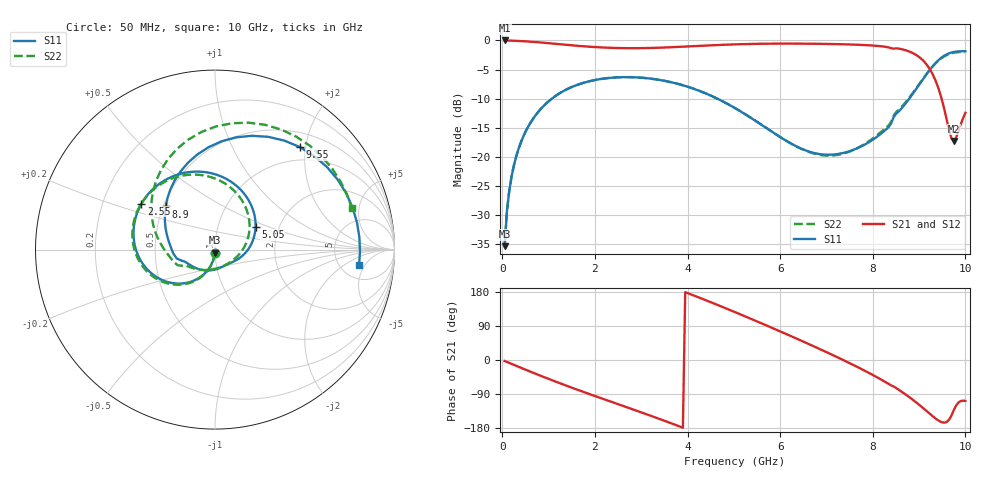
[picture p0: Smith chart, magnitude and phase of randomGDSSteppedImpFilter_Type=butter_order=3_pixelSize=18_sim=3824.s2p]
! freq	dB(S11)	phase(S11)	dB(S12)	phase(S12)
!  dB(S21)	phase(S21)	dB(S22)	phase(S22)
!S-par simulation data
#  GHz  S  DB  R 50
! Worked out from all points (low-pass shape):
!   200 points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, 50 MHz to 10 GHz, reference 50 ohm
!   highest |S21| = 0.00 dB at 50 MHz (marker M1); lowest = -17.3 dB at 9.75 GHz (marker M2)
!   |S21| within 3 dB of the highest: start of sweep to 9.024 GHz
!   lowest |S11| = -35.4 dB at 50 MHz (marker M3), VSWR 1.03, Z = 49.9 - j1.7 ohm
!   |S11| at or under -10 dB: start of sweep to 1.071 GHz; 4.641 GHz to 8.789 GHz (4.147 GHz wide, 61.8 % of centre)
!   |S22| runs from -35.4 to -2.0 dB; largest |S21 - S12| = 0
!   S11 on the Smith chart (normalised r, x): 50 MHz: 1.00, -0.03; 2.55 GHz: 0.37, +0.25; 5.05 GHz: 1.52, +0.41; 8.9 GHz: 0.52, +0.29; 9.55 GHz: 0.74, +1.89; 10 GHz: 7.46, -3.76
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0.05  -35.37 -92.6  -0.00 -2.6  -0.00 -2.6  -35.37 -92.5
0.1  -29.36 -95.4  -0.01 -5.2  -0.01 -5.2  -29.36 -95.3
0.2  -23.40 -100.9  -0.04 -10.3  -0.04 -10.3  -23.40 -100.5
0.5  -15.73 -116.5  -0.15 -25.5  -0.15 -25.5  -15.73 -115.5
1.1  -9.82 -146.3  -0.55 -54.6  -0.55 -54.6  -9.82 -144.2
1.75  -7.29 -176.5  -1.00 -84.1  -1.00 -84.1  -7.29 -173.0
2.55  -6.32 148.0  -1.32 -118.7  -1.32 -118.7  -6.32 153.4
3.4  -6.79 109.9  -1.25 -155.8  -1.25 -155.8  -6.79 117.8
4.25  -8.65 69.3  -0.94 164.8  -0.94 164.8  -8.65 80.5
5.05  -11.75 29.1  -0.67 125.1  -0.67 125.1  -11.74 43.3
5.85  -15.84 -10.3  -0.55 83.5  -0.55 83.5  -15.82 4.0
6.7  -19.29 -48.0  -0.57 37.6  -0.57 37.6  -19.38 -43.9
7.15  -19.61 -69.7  -0.62 12.2  -0.62 12.2  -19.77 -72.9
7.55  -18.90 -94.1  -0.70 -11.2  -0.70 -11.2  -18.95 -99.5
7.95  -17.33 -124.6  -0.85 -36.2  -0.85 -36.2  -17.14 -126.2
8.35  -14.82 -158.6  -1.22 -63.7  -1.22 -63.7  -14.54 -151.6
8.65  -11.42 167.3  -1.55 -85.9  -1.55 -85.9  -11.18 -178.2
8.9  -8.76 138.8  -2.33 -108.2  -2.33 -108.2  -8.63 158.3
9.25  -4.85 93.5  -5.18 -143.8  -5.18 -143.8  -4.90 117.3
9.55  -2.60 50.4  -12.00 -165.3  -12.00 -165.3  -2.71 75.2
9.75  -1.99 23.1  -17.27 -132.3  -17.27 -132.3  -2.12 47.5
10  -1.86 -6.2  -12.43 -107.9  -12.43 -107.9  -1.98 17.1
